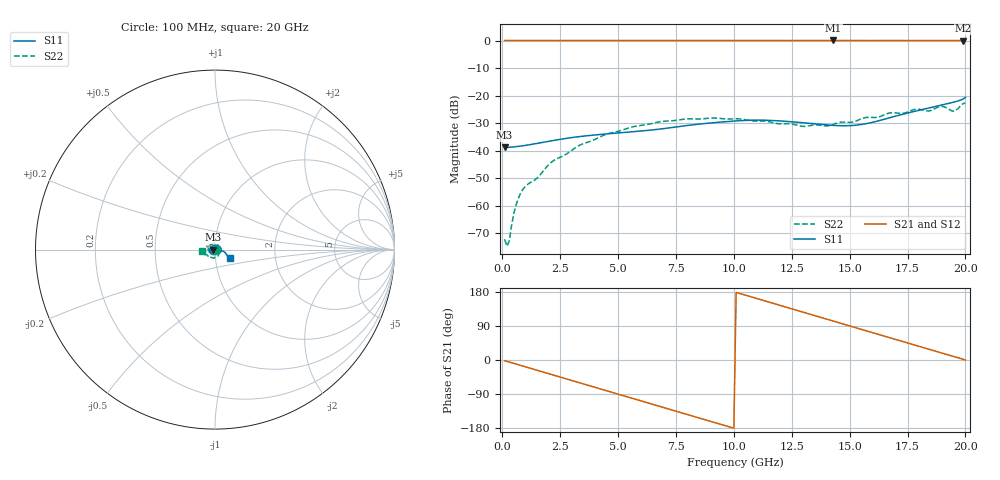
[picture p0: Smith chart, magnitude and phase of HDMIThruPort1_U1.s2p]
! File created by SignalIntegrity v1.1.13: Signal and Power Integrity Tools
! https://github.com/TeledyneLeCroy/SignalIntegrity
# MHz S MA R 50.0
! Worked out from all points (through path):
!   200 points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, 100 MHz to 20 GHz, reference 50 ohm
!   highest |S21| = 0.02 dB at 14.3 GHz (marker M1); lowest = 0.0 dB at 19.9 GHz (marker M2)
!   group delay of S21, straight-line fit = 50 ps
!   lowest |S11| = -38.8 dB at 100 MHz (marker M3), VSWR 1.02, Z = 48.9 - j0.0124 ohm
!   |S11| at or under -10 dB: start of sweep to end of sweep
!   |S22| runs from -74.7 to -22.7 dB; largest |S21 - S12| = 0.0014
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100  0.01143 -179.4  1 -1.8  1 -1.8  0.000246 -6.1
200  0.01145 -178.7  1 -3.6  1 -3.6  0.000184 -28.4
300  0.01152 -178.2  1 -5.4  1 -5.4  0.000228 -78.0
500  0.01169 -177.1  1 -9.0  1 -9.0  0.000725 -98.9
600  0.0118 -176.7  1 -10.8  1 -10.8  0.00105 -95.5
1000  0.01244 -175.9  0.9995 -18.0  0.9997 -18.0  0.002256 -73.9
2200  0.01529 177.3  1 -39.6  1 -39.6  0.006526 -77.4
3500  0.01832 158.6  0.9992 -63.0  0.9995 -63.0  0.01339 -92.0
5100  0.02111 122.7  1 -91.8  1 -91.8  0.02299 -119.3
6800  0.02461 78.2  1 -122.5  1 -122.4  0.03348 -151.3
8500  0.03033 35.7  0.9986 -153.0  0.9992 -153.0  0.03757 173.4
10100  0.03465 4.1  0.9999 178.3  0.9997 178.3  0.03793 134.8
11700  0.0352 -19.0  1.001 149.4  1 149.4  0.03203 90.3
13400  0.03092 -30.6  0.9989 118.8  0.9996 118.8  0.02905 22.7
14300  0.02871 -27.9  1.002 102.6  1.001 102.6  0.0301 -16.3
15500  0.02982 -17.1  0.9984 81.0  0.9995 81.0  0.03784 -61.1
16700  0.03924 -10.8  1.002 59.5  1.001 59.4  0.04802 -97.0
18400  0.05891 -16.6  0.9989 28.7  0.9985 28.8  0.05256 -141.3
19000  0.06728 -21.5  1.001 18.1  0.9997 18.1  0.06345 -154.0
19500  0.07589 -26.4  0.9974 9.3  0.9977 9.2  0.05191 -169.3
19900  0.08623 -29.9  0.9951 1.9  0.9965 1.9  0.07106 178.4
20000  0.09263 -29.1  0.9952 0.1  0.9966 0.1  0.0733 -174.1
